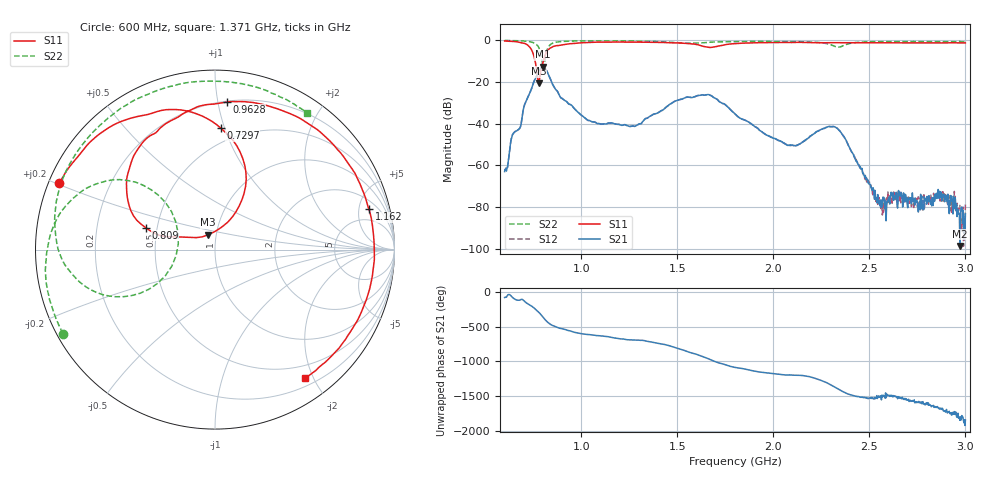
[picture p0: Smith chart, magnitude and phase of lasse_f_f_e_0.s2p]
#  HZ  S  RI  R  50.00
! Rohde & Schwarz ZVB8 2Ports - Version 2.81 - 1145.1010k08 SN: 100113
! Date: 2016-05-04 02:50:11
! Measurements: S11 S21 S12 S22
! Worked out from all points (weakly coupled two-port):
!   1000 points, 600 MHz to 3 GHz, reference 50 ohm
!   highest |S21| = -12.81 dB at 799.4 MHz (marker M1); lowest = -98.5 dB at 2.971 GHz (marker M2)
!   lowest |S11| = -20.8 dB at 777.8 MHz (marker M3), VSWR 1.20, Z = 45.7 + j7.59 ohm
!   |S11| at or under -10 dB: 758.5 MHz to 801.8 MHz (43.28 MHz wide, 5.55 % of centre)
!   |S22| runs from -13.7 to -0.3 dB; largest |S21 - S12| = 0.0027
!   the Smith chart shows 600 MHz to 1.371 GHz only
!   S11 on the Smith chart (normalised r, x): 600 MHz: 0.03, +0.20; 729.7 MHz: 0.39, +0.97; 809 MHz: 0.43, +0.13; 962.8 MHz: 0.21, +1.06; 1.162 GHz: 3.02, +6.34; 1.371 GHz: 0.31, -1.88
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6e8  -0.8666 0.3701  9.5e-05 -0.000708  5.27e-05 -0.000751  -0.8473 -0.4684
7.297297e8  0.0312 0.6778  -0.0516 0.00812  -0.0518 0.00739  -0.8986 0.1331
7.777778e8  -0.0385 0.0824  0.0705 0.1595  0.0689 0.1601  -0.5313 0.3901
7.993994e8  -0.2757 0.0721  0.2286 -0.0106  0.2282 -0.0095  -0.2057 0.0941
8.09009e8  -0.3865 0.1225  0.1752 -0.1233  0.1769 -0.1219  -0.2772 -0.1461
8.594595e8  -0.4245 0.5677  -0.052 -0.0508  -0.0516 -0.0511  -0.8628 -0.029
9.627628e8  0.0642 0.8221  -0.017 0.0154  -0.0171 0.0153  -0.8131 0.4703
1.001201e9  0.2772 0.8061  -0.00722 0.014  -0.00734 0.0139  -0.7268 0.6002
1.162162e9  0.8575 0.225  0.00501 0.0089  0.00495 0.00886  -0.2374 0.9111
1.371171e9  0.5019 -0.715  0.0162 -0.00182  0.0162 -0.00177  0.5107 0.7635
1.4e9  0.3795 -0.7819  0.0169 -0.00679  0.0169 -0.00671  0.5944 0.6891
1.657057e9  -0.4848 -0.4643  -0.0259 0.0419  -0.0263 0.0417  0.8663 -0.0774
1.801201e9  -0.7772 -0.2519  0.0167 -0.00238  0.0167 -0.00229  0.7003 -0.5797
2.077477e9  -0.4795 0.722  -0.00128 -0.00272  -0.00125 -0.00274  -0.1546 -0.8954
2.2e9  0.000428 0.856  -0.00457 -0.00265  -0.0046 -0.00268  -0.5056 -0.7312
2.334535e9  0.5249 0.6753  0.00523 0.00547  0.00511 0.00554  -0.5355 -0.4066
2.536336e9  0.8426 -0.1034  2.99e-05 -0.000164  -1.18e-05 -0.000159  -0.887 -0.1818
2.601201e9  0.761 -0.3726  0.000124 -0.000122  0.000107 -7.45e-05  -0.9093 -0.0228
2.781381e9  0.2017 -0.817  -8.62e-05 -1.1e-05  -0.000128 -3.93e-05  -0.819 0.3871
2.87027e9  -0.125 -0.8315  -0.000114 0.000186  -9.96e-05 0.000196  -0.7135 0.5568
2.971171e9  -0.4703 -0.7068  7.95e-06 -8.85e-06  8.15e-05 7.49e-05  -0.5576 0.7265
3e9  -0.5556 -0.6379  5e-05 -4.91e-05  5.89e-05 -0.000101  -0.4939 0.7504
